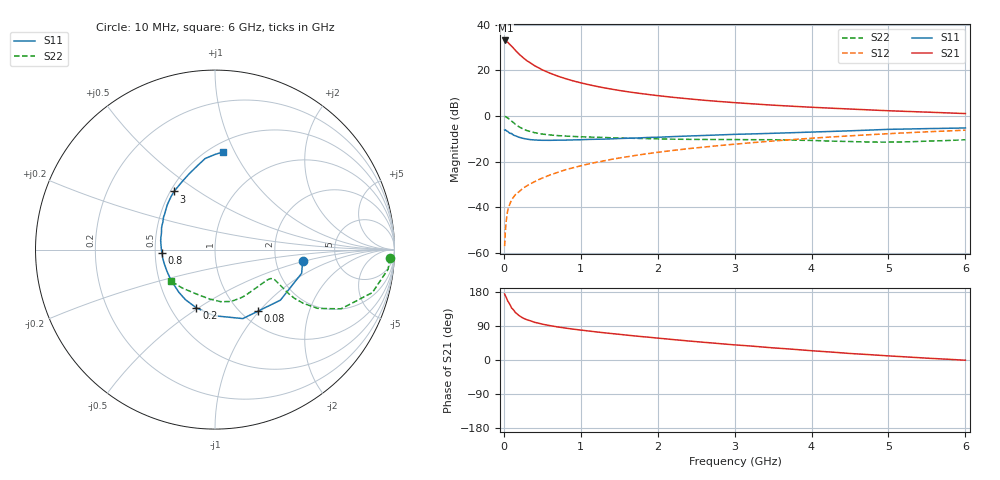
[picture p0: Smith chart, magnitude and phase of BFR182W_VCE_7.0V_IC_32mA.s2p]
! Infineon Technologies  Discrete & RF Semiconductors
! BFR182W
! VCE =  7.0 V,  IC =  32 mA
! Common Emitter S-Parameters:  Jan 2017
# GHz  S  MA  R  50
!  f  S11  S21  S12  S22
! GHz  MAG  ANG  MAG  ANG  MAG  ANG  MAG  ANG
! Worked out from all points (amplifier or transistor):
!   77 points, 10 MHz to 6 GHz, reference 50 ohm
!   highest |S21| = 33.1 dB at 20 MHz (marker M1)
!   |S21| within 3 dB of that: start of sweep to 114.5 MHz
!   unconditionally stable (mu >= 1): 652.4 MHz to 2.222 GHz
!   at 130 MHz: K = 0.52, MSG = 32.5 dB, |S12| = -35.4 dB
!   at 2.2 GHz: K = 1.00, MAG = 11.4 dB, |S12| = -15.1 dB
!   at 6 GHz: K = 0.86, MSG = 3.6 dB, |S12| = -6.2 dB
!   S11 on the Smith chart (normalised r, x): 10 MHz: 2.85, -0.48; 80 MHz: 1.18, -0.98; 200 MHz: 0.67, -0.49; 800 MHz: 0.54, -0.02; 3 GHz: 0.52, +0.40; 6 GHz: 0.58, +0.90
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0.01  0.4927 -7.5  45.23 174.2  0.0014 81.1  0.9739 -2.7
0.02  0.5005 -15.3  45.36 169.7  0.003 88.3  0.9711 -6.4
0.05  0.4606 -37.7  41.58 155.9  0.0084 74.5  0.9087 -15.3
0.08  0.4183 -55.2  36.67 145.8  0.012 71.5  0.8254 -20.9
0.1  0.4146 -68.0  34.18 137.7  0.0144 70.3  0.7749 -25.2
0.15  0.3685 -90.8  27.56 125.4  0.0188 65.9  0.6584 -29.8
0.2  0.3411 -107.6  22.59 116.9  0.0221 67.2  0.5766 -31.3
0.25  0.3239 -120.6  19.02 110.6  0.0261 66.7  0.5201 -31.5
0.3  0.3116 -130.2  16.28 106.2  0.0295 67.7  0.479 -30.9
0.4  0.2988 -145.0  12.66 99.4  0.0364 70.0  0.4309 -29.3
0.5  0.2937 -155.5  10.3 94.6  0.0436 70.9  0.4023 -28.1
0.6  0.2932 -163.7  8.694 90.7  0.051 71.8  0.3841 -27.3
0.7  0.2951 -170.2  7.503 87.3  0.0581 73.3  0.3721 -26.8
0.8  0.2963 -176.0  6.611 84.2  0.0663 73.4  0.3635 -26.8
1.1  0.3068 170.6  4.879 76.6  0.0889 73.4  0.3466 -28.1
1.5  0.3215 157.8  3.639 67.8  0.1199 71.9  0.3302 -32.5
2.1  0.3478 142.9  2.683 55.9  0.1679 68.6  0.313 -42.9
3  0.3964 125.1  1.965 39.9  0.2409 61.9  0.3048 -62.6
3.1  0.4 123.3  1.915 38.5  0.2493 61.0  0.3035 -64.7
4.1  0.4503 107.7  1.528 23.1  0.3341 52.2  0.2875 -86.3
5.1  0.5136 95.0  1.286 9.7  0.4178 42.5  0.2689 -117.1
6  0.547 85.1  1.132 -0.6  0.489 33.2  0.3017 -144.6
